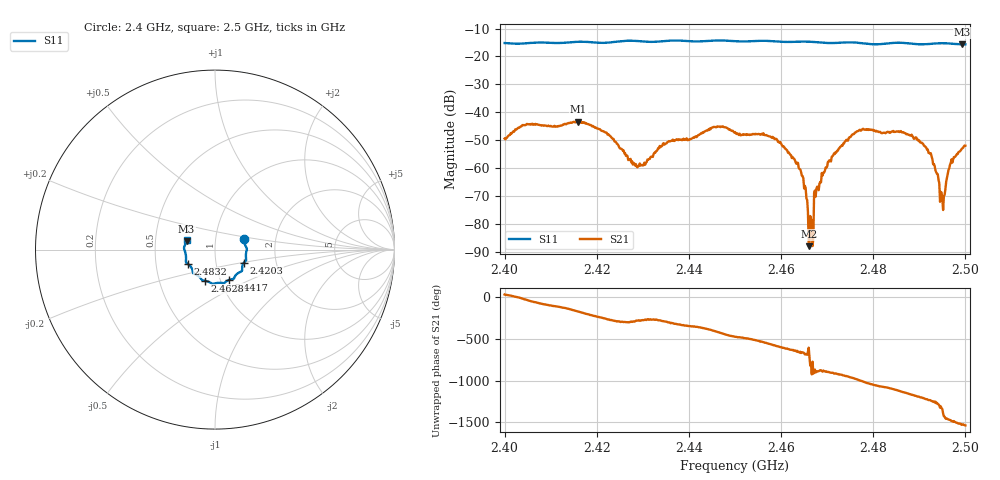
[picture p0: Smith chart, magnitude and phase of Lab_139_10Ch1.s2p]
# Hz S RI R 50
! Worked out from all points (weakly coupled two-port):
!   601 points, 2.4 GHz to 2.5 GHz, reference 50 ohm
!   highest |S21| = -43.33 dB at 2.416 GHz (marker M1); lowest = -88.0 dB at 2.466 GHz (marker M2)
!   lowest |S11| = -15.7 dB at 2.4993 GHz (marker M3), VSWR 1.39, Z = 36.2 + j3.4 ohm
!   |S11| at or under -10 dB: start of sweep to end of sweep
!   S12 and S22 are empty: the file has one direction only
!   S11 on the Smith chart (normalised r, x): 2.4 GHz: 1.38, +0.17; 2.4203 GHz: 1.36, -0.21; 2.4417 GHz: 1.09, -0.38; 2.4628 GHz: 0.84, -0.30; 2.4832 GHz: 0.73, -0.12; 2.5 GHz: 0.73, +0.08
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2.4e9  0.1631 0.06  0.00308 0.00141  0 0  0 0
2.416e9  0.1739 -0.0572  -0.00681 -0.000272  0 0  0 0
2.416667e9  0.1736 -0.0597  -0.00652 0.000966  0 0  0 0
2.420333e9  0.1598 -0.074  -0.00235 0.00445  0 0  0 0
2.428667e9  0.1443 -0.1228  0.000303 0.00101  0 0  0 0
2.433333e9  0.113 -0.1457  0.000498 0.00223  0 0  0 0
2.441667e9  0.0759 -0.1697  0.00358 -4.61e-05  0 0  0 0
2.45e9  0.0327 -0.185  -0.00213 -0.00388  0 0  0 0
2.458667e9  -0.0247 -0.1852  -0.0024 0.00223  0 0  0 0
2.462833e9  -0.0568 -0.1738  0.000387 0.00142  0 0  0 0
2.464833e9  -0.0679 -0.1715  0.000392 0.000524  0 0  0 0
2.466e9  -0.0723 -0.169  -1.46e-05 3.7e-05  0 0  0 0
2.466667e9  -0.0746 -0.1669  -0.000105 5.31e-05  0 0  0 0
2.469333e9  -0.0862 -0.1532  -0.000815 -0.000171  0 0  0 0
2.473667e9  -0.1152 -0.1355  -0.0021 0.00181  0 0  0 0
2.483167e9  -0.1517 -0.0794  0.00446 -0.000407  0 0  0 0
2.483333e9  -0.1529 -0.0787  0.00432 -0.000642  0 0  0 0
2.491333e9  -0.1642 -0.0194  -0.00178 -0.00161  0 0  0 0
2.495e9  -0.1724 0.0102  -4.32e-05 0.000273  0 0  0 0
2.496833e9  -0.1685 0.022  0.00104 -0.000673  0 0  0 0
2.499333e9  -0.1581 0.0457  0.000171 -0.00225  0 0  0 0
2.5e9  -0.1563 0.0535  -0.000229 -0.00251  0 0  0 0
